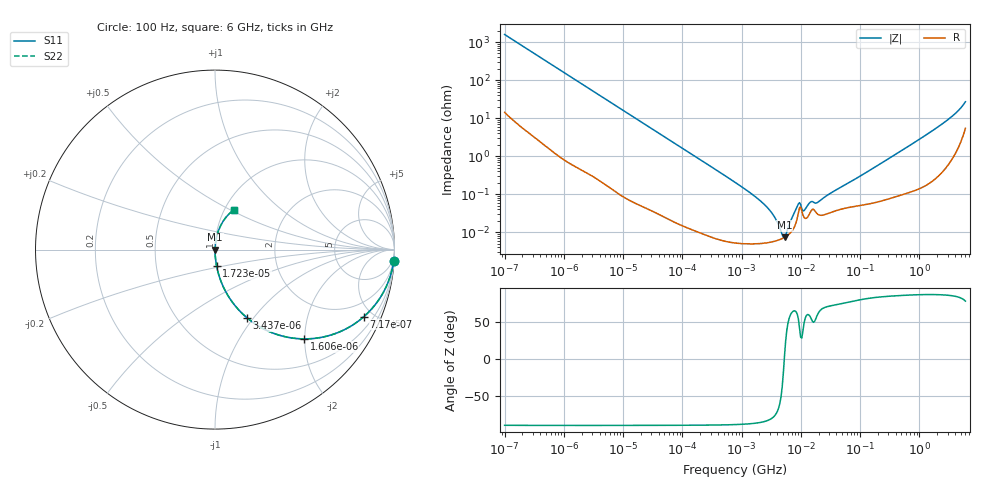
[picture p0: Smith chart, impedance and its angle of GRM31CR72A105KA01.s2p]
!Murata Part Number: GRM31CR72A105KA01
!These Parameters are Measured in Series Mode Connection
!Data Generated on Mar 30, 2021
!  o--ll--o
!Port1  Port2
!  o------o
!Operation Temp=25[degC], DC Bias Voltage=0[V]
!Freq. Start=100[Hz] Stop=6[GHz] 401[Steps]
# Hz S RI R 50
!Freq.(Hz) S11(Real) S11(Imag) S21(Real) S21(Imag) S12(Real) S12(Imag) S22(Real) S22(Imag)
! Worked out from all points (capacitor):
!   401 points, 100 Hz to 6 GHz, reference 50 ohm
!   read as one part in series: C = 1.01 uF near 109 Hz
!   lowest |Z| = 7.38 mohm at 5.312 MHz (marker M1)
!   series resonance near 5.262 MHz, so ESL is about 910 pH
!   S11 on the Smith chart (normalised r, x): 100 Hz: 1, -32; 717 Hz: 1.02, -4.43; 1.606 kHz: 1.01, -1.98; 3.437 kHz: 1.01, -0.93; 17.23 kHz: 1.00, -0.19; 6 GHz: 1.11, +0.53
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100  0.9954 -0.063  0.00456 0.063  0.00456 0.063  0.9954 -0.063
335  0.956 -0.2019  0.044 0.2019  0.044 0.2019  0.956 -0.2019
717  0.8293 -0.3737  0.1707 0.3737  0.1707 0.3737  0.8293 -0.3737
1606  0.4954 -0.4974  0.5046 0.4974  0.5046 0.4974  0.4954 -0.4974
2008  0.3865 -0.4843  0.6135 0.4843  0.6135 0.4843  0.3865 -0.4843
3437  0.1787 -0.3802  0.8213 0.3802  0.8213 0.3802  0.1787 -0.3802
6728  0.0546 -0.2245  0.9454 0.2245  0.9454 0.2245  0.0546 -0.2245
17227  0.00912 -0.0922  0.9909 0.0922  0.9909 0.0922  0.00912 -0.0922
40335  0.00188 -0.0398  0.9981 0.0398  0.9981 0.0398  0.00188 -0.0398
774597  5.64e-05 -0.00206  0.9999 0.00206  0.9999 0.00206  5.64e-05 -0.00206
2481164  5.21e-05 -0.000515  0.9999 0.000515  0.9999 0.000515  5.21e-05 -0.000515
3394479  5.66e-05 -0.000285  0.9999 0.000285  0.9999 0.000285  5.66e-05 -0.000285
4643984  6.63e-05 -8.04e-05  0.9999 8.04e-05  0.9999 8.04e-05  6.63e-05 -8.04e-05
5311619  7.35e-05 6.2e-06  0.9999 -6.2e-06  0.9999 -6.2e-06  7.35e-05 6.2e-06
6075234  8.45e-05 9.66e-05  0.9999 -9.66e-05  0.9999 -9.66e-05  8.45e-05 9.66e-05
9090158  0.000322 0.00045  0.9997 -0.00045  0.9997 -0.00045  0.000322 0.00045
1.137099e7  0.000244 0.00028  0.9998 -0.00028  0.9998 -0.00028  0.000244 0.00028
1.555665e7  0.000398 0.000504  0.9996 -0.000504  0.9996 -0.000504  0.000398 0.000504
1.946e7  0.000295 0.00054  0.9997 -0.00054  0.9997 -0.00054  0.000295 0.00054
3.124326e8  0.000838 0.00879  0.9992 -0.00879  0.9992 -0.00879  0.000838 0.00879
2.450438e9  0.00872 0.0698  0.9913 -0.0698  0.9913 -0.0698  0.00872 0.0698
6e9  0.1065 0.223  0.8935 -0.223  0.8935 -0.223  0.1065 0.223
